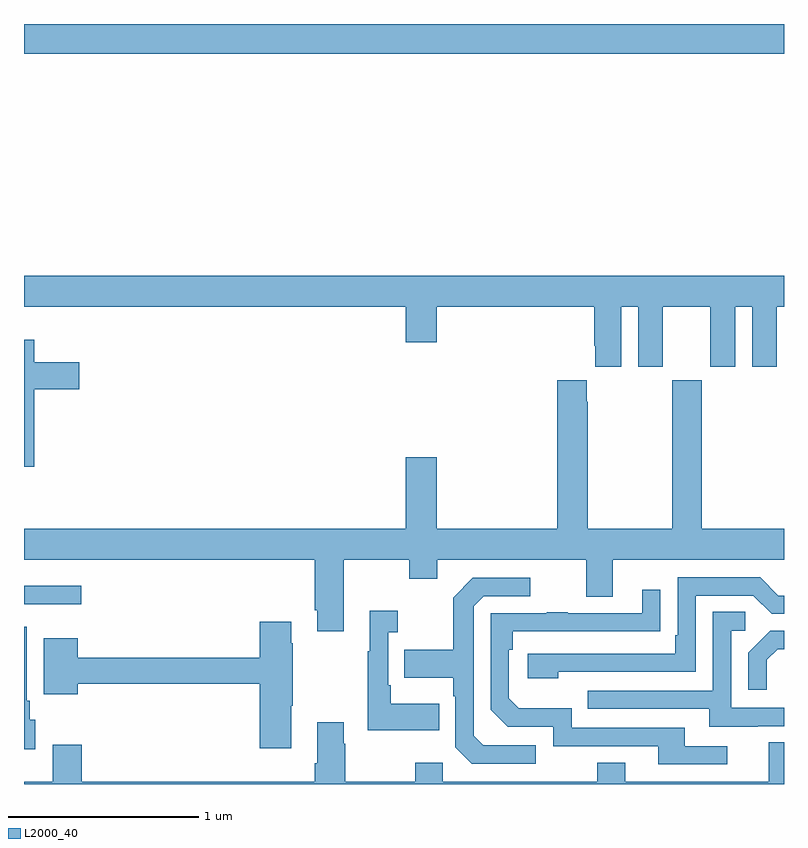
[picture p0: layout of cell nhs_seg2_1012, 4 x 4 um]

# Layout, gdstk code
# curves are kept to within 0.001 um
import gdstk
lib = gdstk.Library(unit=1e-6, precision=1e-09)
def R(c, l, rs):  # rectangles x0, y0, x1, y1
    for r in rs: c.add(gdstk.rectangle(r[:2], r[2:], *l))
def P(c, l, *ps):  # polygons
    for p in ps: c.add(gdstk.Polygon(p, *l))
L2000_40 = (2000, 40)

nhs_seg2_1012 = lib.new_cell('nhs_seg2_1012')
R(nhs_seg2_1012, L2000_40, [(163,636.747,163.3,636.844), (163,639.644,167,639.8)])
P(nhs_seg2_1012, L2000_40, [(166.144,638.312),(166.232,638.312),(166.232,637.995),(166.363,637.995),(166.363,638.312),(166.613,638.312),(166.613,637.995),(166.744,637.995),(166.744,638.312),(166.832,638.312),(166.832,637.995),(166.963,637.995),(166.963,638.312),(167,638.312),(167,638.476),(163,638.476),(163,638.312),(165.008,638.312),(165.008,638.124),(165.172,638.124),(165.172,638.312),(166.001,638.312),(166.001,638.107),(166.007,638.107),(166.007,637.995),(166.144,637.995)],
  [(163.055,637.877),(163.291,637.877),(163.291,638.019),(163.055,638.019),(163.055,638.137),(163,638.137),(163,637.47),(163.055,637.47)],
  [(164.683,636.98),(165.028,636.98),(165.028,636.881),(165.175,636.881),(165.175,636.98),(165.959,636.98),(165.959,636.786),(166.099,636.786),(166.099,636.98),(167,636.98),(167,637.144),(166.566,637.144),(166.566,637.924),(166.411,637.924),(166.411,637.144),(165.966,637.144),(165.966,637.811),(165.961,637.811),(165.961,637.924),(165.806,637.924),(165.806,637.144),(165.172,637.144),(165.172,637.519),(165.008,637.519),(165.008,637.144),(163,637.144),(163,636.98),(164.531,636.98),(164.531,636.715),(164.543,636.715),(164.543,636.603),(164.683,636.603)],
  [(165.812,636.39),(166.536,636.39),(166.536,636.792),(166.839,636.792),(166.935,636.696),(167,636.696),(167,636.792),(166.971,636.792),(166.875,636.888),(166.44,636.888),(166.44,636.583),(166.427,636.583),(166.427,636.486),(165.651,636.486),(165.651,636.356),(165.812,636.356)],
  [(165.694,636.003),(165.417,636.003),(165.366,636.054),(165.366,636.735),(165.42,636.789),(165.664,636.789),(165.664,636.885),(165.363,636.885),(165.258,636.779),(165.258,636.507),(165.001,636.507),(165.001,636.359),(165.258,636.359),(165.258,636.263),(165.27,636.263),(165.27,635.994),(165.357,635.907),(165.694,635.907)],
  [(166.702,636),(166.477,636),(166.477,636.096),(165.882,636.096),(165.882,636.199),(165.605,636.199),(165.552,636.252),(165.552,636.506),(165.572,636.506),(165.572,636.603),(166.349,636.604),(166.349,636.823),(166.253,636.823),(166.253,636.699),(165.863,636.699),(165.863,636.704),(165.751,636.704),(165.751,636.699),(165.456,636.699),(165.456,636.192),(165.546,636.102),(165.786,636.102),(165.786,636),(166.337,636),(166.337,635.904),(166.702,635.904)],
  [(165.185,636.223),(164.929,636.223),(164.929,636.319),(164.916,636.319),(164.916,636.599),(164.968,636.599),(164.968,636.712),(164.819,636.712),(164.819,636.499),(164.808,636.499),(164.808,636.083),(165.185,636.083)],
  [(166.861,636.105),(167,636.105),(167,636.201),(166.722,636.201),(166.722,636.606),(166.795,636.606),(166.795,636.707),(166.626,636.707),(166.626,636.291),(165.967,636.291),(165.967,636.195),(166.607,636.195),(166.607,636.101),(166.861,636.101)],
  [(164.407,636.211),(164.415,636.211),(164.415,636.542),(164.407,636.542),(164.407,636.655),(164.24,636.655),(164.24,636.464),(163.282,636.464),(163.282,636.568),(163.103,636.568),(163.103,636.272),(163.282,636.272),(163.282,636.328),(164.24,636.328),(164.24,635.988),(164.407,635.988)],
  [(163.06,636.138),(163.03,636.138),(163.03,636.238),(163.015,636.238),(163.015,636.628),(163,636.628),(163,635.984),(163.06,635.984)],
  [(166.909,636.453),(166.966,636.51),(167,636.51),(167,636.606),(166.928,636.606),(166.812,636.49),(166.812,636.297),(166.909,636.297)],
  [(167,636.02),(166.919,636.02),(166.919,635.812),(166.165,635.812),(166.165,635.911),(166.018,635.911),(166.018,635.812),(165.204,635.812),(165.204,635.911),(165.058,635.911),(165.058,635.812),(164.691,635.812),(164.691,636.011),(164.683,636.011),(164.683,636.124),(164.543,636.124),(164.543,635.908),(164.531,635.908),(164.531,635.812),(163.304,635.812),(163.304,636.007),(163.151,636.007),(163.151,635.812),(163,635.812),(163,635.8),(167,635.8)])

lib.write_gds('nhs_seg2_1012.gds')
